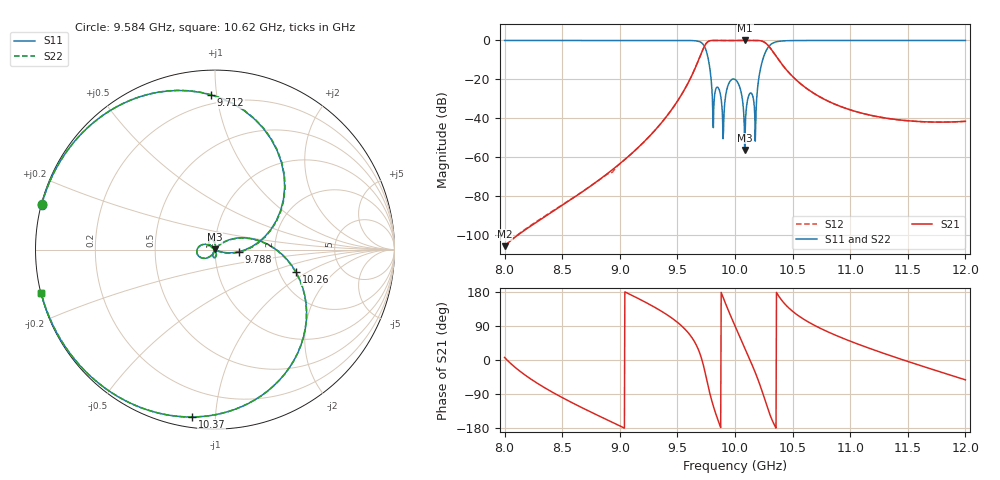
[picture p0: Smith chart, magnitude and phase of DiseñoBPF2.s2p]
! TOUCHSTONE file generated by CST MICROWAVE STUDIO
! Date and time: Sat Oct  4 18:39:48 2025
! Project name: DiseñoBPF.cst
! Parameters = {L=20; Lc1=18.773; Lc2=21.2156; a=19.05; b=9.525; t=1.5; w1=11.9246; w2=8.70252; w3=8.01241}
! Header version: 2024
! Port assignment regex: !\s*Touchstone port\s*([0-9]+)\s*=\s*(CST MWS port|CST DES external port|CST DES block port)\s*(.+)\s* \(\"(.*)\"\)(\s*mode\s*([0-9]+))?.*
! Touchstone port assignment:
! Touchstone port 1 = CST MWS port 1 ("")
! Touchstone port 2 = CST MWS port 2 ("")
! S-Parameters are not renormalized. Unphysical impedance of 498.969 will be written to the file.
# GHz S MA R 498.969
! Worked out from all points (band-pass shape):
!   1001 points, 8 GHz to 12 GHz, reference per port
!   highest |S21| = 0.00 dB at 10.09 GHz (marker M1); lowest = -105.7 dB at 8 GHz (marker M2)
!   |S21| within 3 dB of the highest: 9.735 GHz to 10.29 GHz (559.6 MHz wide, 5.59 % of centre)
!   lowest |S11| = -56.2 dB at 10.08 GHz (marker M3), VSWR 1.00
!   |S11| at or under -10 dB: 9.769 GHz to 10.24 GHz (470.6 MHz wide, 4.7 % of centre)
!   |S22| runs from -56.3 to 0.0 dB; largest |S21 - S12| = 0.00016
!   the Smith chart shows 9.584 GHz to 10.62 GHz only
!   S11 on the Smith chart (normalised r, x): 9.584 GHz: 0.00, +0.13; 9.712 GHz: 0.14, +0.96; 9.788 GHz: 1.31, -0.03; 10.26 GHz: 2.46, -0.80; 10.37 GHz: 0.05, -0.87; 10.62 GHz: 0.00, -0.12
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8  1 96.6  5.205e-06 6.6  5.21e-06 6.6  1 96.7
8.308  0.9978 24.7  2.472e-05 -66.0  2.574e-05 -64.5  0.9981 24.7
8.668  1 -34.8  0.0001252 -125.3  0.0001268 -122.8  1 -34.8
9.016  1 -86.1  0.0007475 -176.2  0.0007432 -177.2  1 -86.2
9.336  1 -136.7  0.006251 133.3  0.006249 133.3  0.9999 -136.8
9.584  0.9975 165.4  0.07222 75.4  0.07222 75.4  0.9975 165.3
9.712  0.8623 91.5  0.5059 1.3  0.5059 1.3  0.8621 91.2
9.748  0.5668 47.3  0.824 -43.1  0.824 -43.1  0.5661 46.9
9.788  0.1358 -4.8  0.9909 -95.7  0.9908 -95.7  0.1356 -6.0
9.812  0.005765 136.7  1 -121.7  1 -121.7  0.005727 158.8
9.88  0.03089 87.0  0.9995 178.4  0.9995 178.4  0.03094 89.5
10  0.09968 -179.7  0.995 90.0  0.9951 89.9  0.09968 179.6
10.084  0.001542 151.7  1 32.1  1 32.1  0.001523 91.3
10.088  0.004366 -70.9  1 29.4  1 29.4  0.004403 -50.5
10.132  0.0443 -92.4  0.999 -1.2  0.999 -1.2  0.04435 -90.4
10.18  0.007524 58.7  1 -36.2  0.9999 -36.2  0.007566 47.3
10.26  0.469 -15.6  0.8831 -105.6  0.8832 -105.6  0.4688 -15.7
10.372  0.9411 -97.7  0.3384 172.3  0.3385 172.3  0.9412 -97.8
10.616  0.9984 -166.0  0.06021 104.0  0.06023 104.0  0.9981 -166.0
10.668  0.9993 -175.0  0.04709 95.0  0.04711 95.0  0.999 -175.0
11.336  0.9996 102.9  0.009854 12.8  0.009855 12.8  0.9996 102.8
12  1 37.7  0.00837 -52.3  0.00837 -52.4  1 37.6
